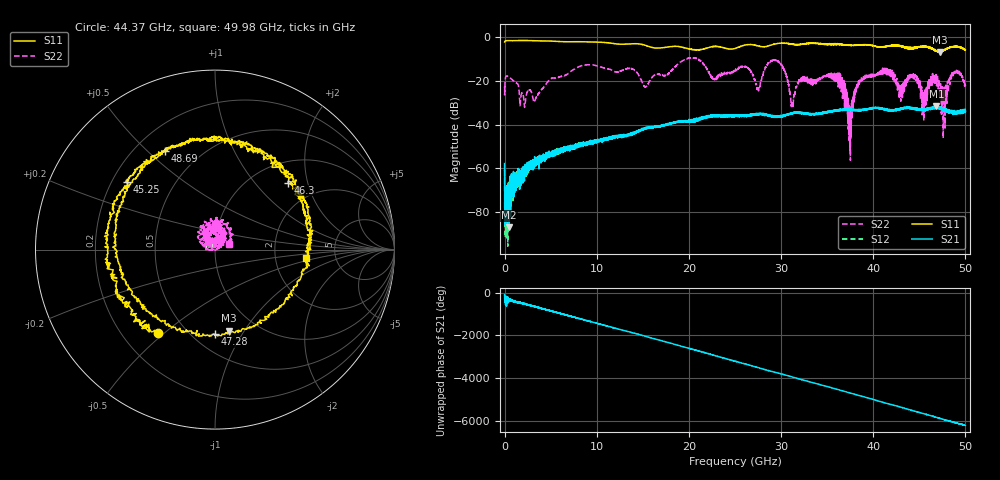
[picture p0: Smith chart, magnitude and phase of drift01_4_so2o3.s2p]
!Created with skrf (http://scikit-rf.org).
# Hz S RI R 50.0
!freq ReS11 ImS11 ReS21 ImS21 ReS12 ImS12 ReS22 ImS22
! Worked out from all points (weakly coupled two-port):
!   10001 points, 300 kHz to 50 GHz, reference 50 ohm
!   highest |S21| = -31.52 dB at 46.85 GHz (marker M1); lowest = -87.0 dB at 480.3 MHz (marker M2)
!   lowest |S11| = -6.8 dB at 47.21 GHz (marker M3), VSWR 2.69, Z = 37.4 - j42.7 ohm
!   |S11| at or under -10 dB: nowhere
!   |S22| runs from -56.3 to -9.2 dB; largest |S21 - S12| = 0.004
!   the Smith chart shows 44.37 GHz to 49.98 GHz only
!   S11 on the Smith chart (normalised r, x): 44.37 GHz: 0.35, -0.47; 45.25 GHz: 0.26, +0.32; 46.3 GHz: 1.42, +1.52; 47.28 GHz: 0.63, -0.77; 48.69 GHz: 0.32, +0.57; 49.98 GHz: 3.04, -0.38
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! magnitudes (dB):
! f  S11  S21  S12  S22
! 300 kHz  -2.1  -57.8  -60.7  -22.3
! 480.3 MHz  -1.4  -87.0  -79.8  -18.2
! 3.285 GHz  -1.5  -57.7  -57.7  -28.9
! 8.335 GHz  -2.0  -49.1  -49.3  -12.9
! 16.67 GHz  -4.9  -40.8  -40.9  -16.7
! 25 GHz  -5.0  -35.8  -35.8  -15.4
! 29.6 GHz  -2.8  -36.4  -36.5  -10.6
! 31.23 GHz  -3.1  -34.5  -34.6  -30.6
! 33.34 GHz  -2.6  -35.2  -35.2  -19.9
! 36.08 GHz  -3.1  -33.7  -33.5  -17.9
! 37.47 GHz  -3.6  -33.1  -33.3  -39.1
! 38.62 GHz  -3.4  -33.1  -33.5  -19.7
! 41.67 GHz  -3.9  -33.3  -33.2  -15.2
! 44.37 GHz  -5.0  -32.3  -32.6  -16.9
! 45.25 GHz  -4.2  -32.6  -33.0  -22.7
! 46.3 GHz  -5.1  -32.3  -32.3  -17.9
! 46.85 GHz  -6.2  -31.5  -31.9  -20.2
! 47.21 GHz  -6.8  -31.9  -32.2  -26.0
! 47.28 GHz  -6.5  -32.3  -32.4  -22.9
! 48.69 GHz  -4.2  -34.5  -34.1  -16.3
! 49.98 GHz  -5.8  -32.8  -33.4  -21.4
! 50 GHz  -5.7  -33.9  -33.6  -21.8
